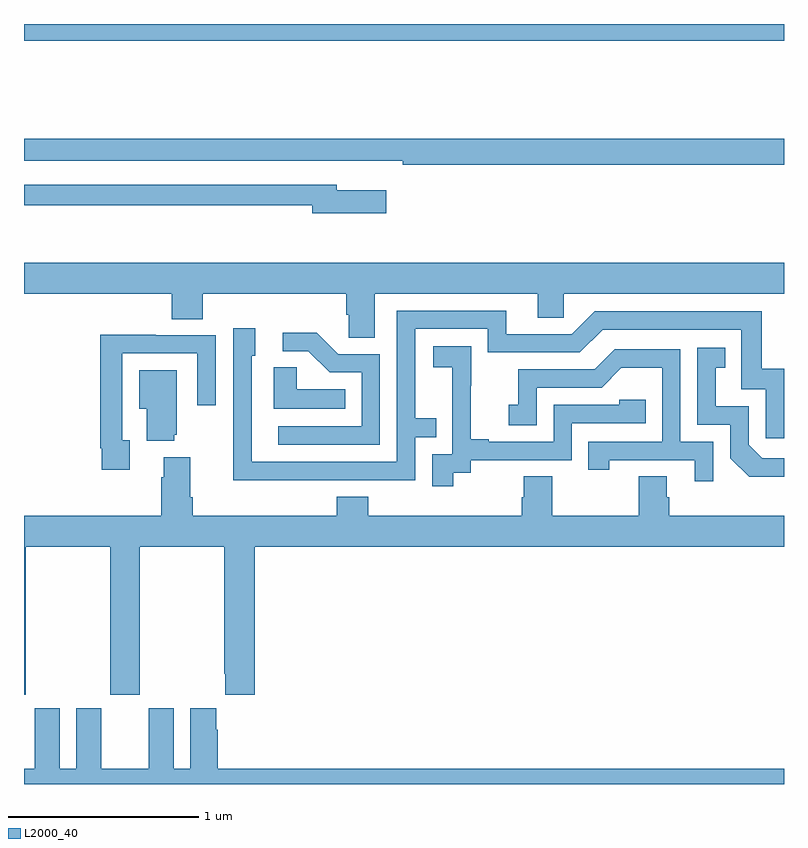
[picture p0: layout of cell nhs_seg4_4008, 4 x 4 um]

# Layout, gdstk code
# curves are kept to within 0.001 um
import gdstk
lib = gdstk.Library(unit=1e-6, precision=1e-09)
def R(c, l, rs):  # rectangles x0, y0, x1, y1
    for r in rs: c.add(gdstk.rectangle(r[:2], r[2:], *l))
def P(c, l, *ps):  # polygons
    for p in ps: c.add(gdstk.Polygon(p, *l))
L2000_40 = (2000, 40)

nhs_seg4_4008 = lib.new_cell('nhs_seg4_4008')
R(nhs_seg4_4008, L2000_40, [(323,804.812,327,804.9)])
P(nhs_seg4_4008, L2000_40, [(327,804.296),(323,804.296),(323,804.18),(324.742,804.18),(324.742,804.179),(324.994,804.179),(324.994,804.16),(327,804.16)],
  [(324.907,804.025),(324.646,804.025),(324.646,804.054),(323,804.054),(323,803.946),(324.518,803.946),(324.518,803.903),(324.907,803.903)],
  [(324.847,803.48),(325.703,803.48),(325.703,803.353),(325.842,803.353),(325.842,803.48),(327,803.48),(327,803.644),(323,803.644),(323,803.48),(323.777,803.48),(323.777,803.347),(323.942,803.347),(323.942,803.48),(324.695,803.48),(324.695,803.371),(324.708,803.371),(324.708,803.248),(324.847,803.248)],
  [(324.563,802.5),(325.059,802.5),(325.059,802.725),(325.169,802.725),(325.169,802.826),(325.059,802.826),(325.059,803.295),(325.44,803.295),(325.44,803.172),(325.926,803.172),(326.046,803.292),(326.775,803.292),(326.775,802.977),(326.904,802.977),(326.904,802.719),(327,802.719),(327,803.086),(326.884,803.086),(326.884,803.388),(326.004,803.388),(325.884,803.268),(325.537,803.268),(325.537,803.391),(324.963,803.391),(324.963,802.596),(324.198,802.596),(324.198,803.154),(324.217,803.154),(324.217,803.299),(324.102,803.299),(324.102,802.805),(324.1,802.805),(324.1,802.499)],
  [(324.873,803.163),(324.654,803.163),(324.541,803.276),(324.363,803.276),(324.363,803.178),(324.497,803.178),(324.608,803.067),(324.777,803.067),(324.777,802.782),(324.339,802.782),(324.339,802.686),(324.873,802.686)],
  [(323.557,802.71),(323.517,802.71),(323.517,803.166),(323.913,803.166),(323.913,802.893),(324.009,802.893),(324.009,803.262),(323.693,803.262),(323.693,803.264),(323.401,803.264),(323.401,802.666),(323.409,802.666),(323.409,802.554),(323.557,802.554)],
  [(325.258,802.537),(325.35,802.537),(325.35,802.605),(325.884,802.605),(325.884,802.8),(326.273,802.8),(326.273,802.923),(326.133,802.923),(326.133,802.896),(325.788,802.896),(325.788,802.701),(325.447,802.701),(325.447,802.714),(325.352,802.714),(325.352,802.997),(325.353,802.997),(325.353,803.203),(325.155,803.203),(325.155,803.093),(325.253,803.093),(325.253,802.865),(325.254,802.865),(325.254,802.635),(325.149,802.635),(325.149,802.467),(325.258,802.467)],
  [(327,802.614),(326.886,802.614),(326.814,802.686),(326.814,802.887),(326.641,802.887),(326.641,803.091),(326.69,803.091),(326.69,803.197),(326.544,803.197),(326.544,802.791),(326.718,802.791),(326.718,802.614),(326.816,802.517),(327,802.517)],
  [(326.628,802.701),(326.454,802.701),(326.454,803.187),(326.108,803.187),(326.003,803.082),(325.6,803.082),(325.6,802.897),(325.551,802.897),(325.551,802.788),(325.698,802.788),(325.698,802.986),(326.04,802.986),(326.144,803.09),(326.358,803.09),(326.358,802.701),(325.969,802.701),(325.969,802.554),(326.08,802.554),(326.08,802.605),(326.531,802.605),(326.531,802.494),(326.628,802.494)],
  [(324.692,802.978),(324.435,802.978),(324.435,803.093),(324.314,803.093),(324.314,802.874),(324.692,802.874)],
  [(323.792,802.737),(323.803,802.737),(323.803,803.077),(323.606,803.077),(323.606,802.874),(323.645,802.874),(323.645,802.706),(323.792,802.706)],
  [(323.01,802.148),(323.455,802.148),(323.455,801.369),(323.61,801.369),(323.61,802.148),(324.055,802.148),(324.055,801.481),(324.059,801.481),(324.059,801.369),(324.215,801.369),(324.215,802.148),(327,802.148),(327,802.312),(326.396,802.312),(326.396,802.41),(326.383,802.41),(326.383,802.52),(326.236,802.52),(326.236,802.312),(325.779,802.312),(325.779,802.52),(325.631,802.52),(325.631,802.41),(325.619,802.41),(325.619,802.312),(324.812,802.312),(324.812,802.411),(324.647,802.411),(324.647,802.312),(323.888,802.312),(323.888,802.408),(323.875,802.408),(323.875,802.621),(323.735,802.621),(323.735,802.514),(323.723,802.514),(323.723,802.312),(323,802.312),(323,801.369),(323.01,801.369)],
  [(327,800.98),(324.02,800.98),(324.02,801.185),(324.013,801.185),(324.013,801.298),(323.876,801.298),(323.876,800.98),(323.788,800.98),(323.788,801.298),(323.657,801.298),(323.657,800.98),(323.407,800.98),(323.407,801.298),(323.276,801.298),(323.276,800.98),(323.188,800.98),(323.188,801.298),(323.057,801.298),(323.057,800.98),(323,800.98),(323,800.9),(327,800.9)])

lib.write_gds('nhs_seg4_4008.gds')
